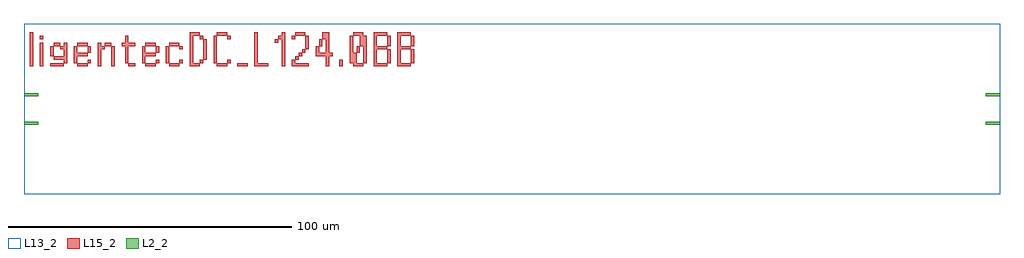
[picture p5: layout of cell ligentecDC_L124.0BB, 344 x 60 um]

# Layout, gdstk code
import gdstk
lib = gdstk.Library(unit=1e-6, precision=5e-09)
def R(c, l, rs):  # rectangles x0, y0, x1, y1
    for r in rs: c.add(gdstk.rectangle(r[:2], r[2:], *l))
def A(c, l, x, y, w, h, nx, ny, dx, dy):  # array of equal rectangles
    R(c, l, [(x+i*dx, y+j*dy, x+i*dx+w, y+j*dy+h) for i in range(nx) for j in range(ny)])
L2_2 = (2, 2)
L13_2 = (13, 2)
L15_2 = (15, 2)

ligentecdc_l124_0bb = lib.new_cell('ligentecDC_L124.0BB')
R(ligentecdc_l124_0bb, L2_2, [(-5,-0.5,0,0.5), (334,-0.5,339,0.5), (-5,9.5,0,10.5), (334,9.5,339,10.5)])
R(ligentecdc_l124_0bb, L13_2, [(-5,-25,339,35)])
A(ligentecdc_l124_0bb, L15_2, 13.8, 20, 3.6, 1.2, 1, 3, 0, 3.6)
A(ligentecdc_l124_0bb, L15_2, 37.8, 20, 3.6, 1.2, 1, 3, 0, 3.6)
A(ligentecdc_l124_0bb, L15_2, 63, 20, 3.6, 1.2, 3, 1, 7.2, 0)
R(ligentecdc_l124_0bb, L15_2, [(-3,20,-1.8,32), (0.6,20,1.8,28.4), (4.2,20,9,21.2), (21,20,22.2,28.4), (25.8,20,27,27.2), (31.8,20,34.2,21.2), (46.2,20,49.8,21.2), (53.4,20,54.6,32), (54.6,20,57,21.2), (76.2,20,77.4,32), (85.8,20,87,32), (89.4,20,90.6,22.4), (90.6,20,95.4,21.2), (101.4,20,102.6,32), (106.2,20,107.4,22.4), (111,20,112.2,24.8), (112.2,20,114.6,21.2), (118.2,20,119.4,32), (119.4,20,123,21.2), (126.6,20,127.8,32), (127.8,20,131.4,21.2), (9,21.2,10.2,28.4), (12.6,21.2,13.8,27.2), (17.4,21.2,18.6,22.4), (30.6,21.2,31.8,30.8), (36.6,21.2,37.8,27.2), (41.4,21.2,42.6,22.4), (45,21.2,46.2,27.2), (49.8,21.2,51,22.4), (57,21.2,58.2,22.4), (61.8,21.2,63,30.8), (66.6,21.2,67.8,22.4), (109.8,21.2,111,30.8), (114.6,21.2,115.8,30.8), (123,21.2,124.2,26), (131.4,21.2,132.6,26), (5.4,22.4,9,23.6), (58.2,22.4,59.4,29.6), (90.6,22.4,91.8,23.6), (4.2,23.6,5.4,27.2), (91.8,23.6,93,24.8), (97.8,23.6,99,27.2), (99,23.6,101.4,24.8), (102.6,23.6,103.8,24.8), (17.4,24.8,18.6,27.2), (41.4,24.8,42.6,27.2), (93,24.8,94.2,26), (112.2,24.8,113.4,27.2), (7.8,26,9,27.2), (22.2,26,23.4,27.2), (49.8,26,51,27.2), (94.2,26,95.4,30.8), (119.4,26,123,27.2), (127.8,26,131.4,27.2), (5.4,27.2,7.8,28.4), (23.4,27.2,25.8,28.4), (29.4,27.2,30.6,28.4), (31.8,27.2,34.2,28.4), (46.2,27.2,49.8,28.4), (99,27.2,100.2,29.6), (113.4,27.2,114.6,32), (123,27.2,124.2,30.8), (131.4,27.2,132.6,30.8), (83.4,28.4,84.6,29.6), (0.6,29.6,1.8,30.8), (57,29.6,58.2,30.8), (66.6,29.6,67.8,30.8), (84.6,29.6,85.8,30.8), (89.4,29.6,90.6,30.8), (100.2,29.6,101.4,32), (54.6,30.8,57,32), (63,30.8,66.6,32), (90.6,30.8,94.2,32), (111,30.8,113.4,32), (119.4,30.8,123,32), (127.8,30.8,131.4,32)])

lib.write_gds('ligentecDC_L124.0BB.gds')
